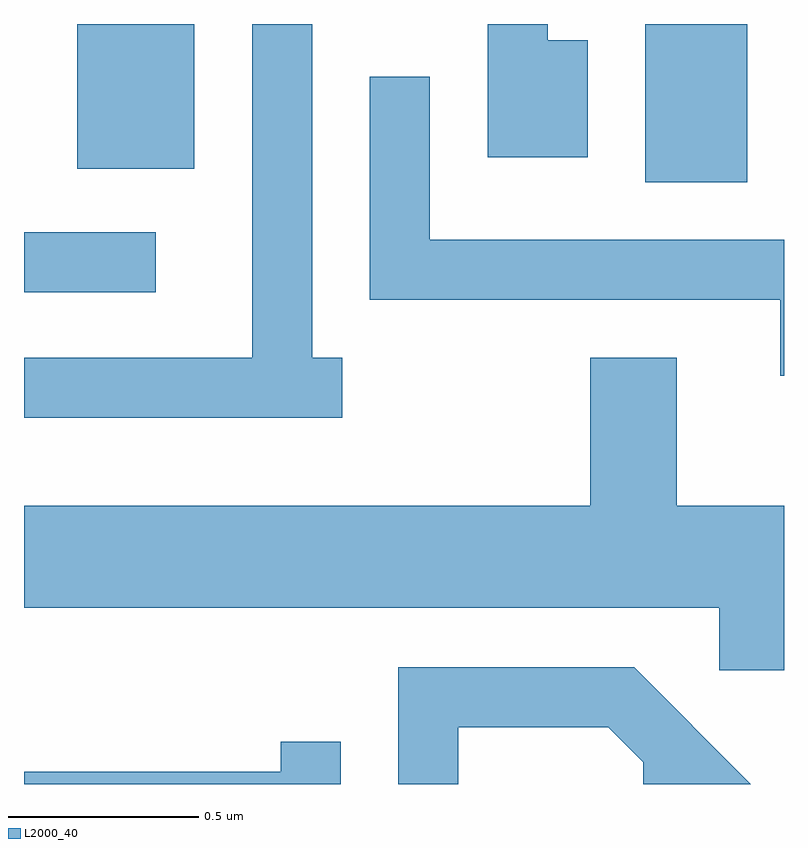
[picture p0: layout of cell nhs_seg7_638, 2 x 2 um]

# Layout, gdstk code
import gdstk
lib = gdstk.Library(unit=1e-6, precision=1e-09)
def R(c, l, rs):  # rectangles x0, y0, x1, y1
    for r in rs: c.add(gdstk.rectangle(r[:2], r[2:], *l))
def P(c, l, *ps):  # polygons
    for p in ps: c.add(gdstk.Polygon(p, *l))
L2000_40 = (2000, 40)

nhs_seg7_638 = lib.new_cell('nhs_seg7_638')
R(nhs_seg7_638, L2000_40, [(189.611,1759.546,189.958,1759.704), (191.246,1759.836,191.514,1760.252), (189.751,1759.871,190.059,1760.252)])
P(nhs_seg7_638, L2000_40, [(190.448,1759.374),(190.369,1759.374),(190.369,1760.252),(190.211,1760.252),(190.211,1759.374),(189.611,1759.374),(189.611,1759.216),(190.448,1759.216)],
  [(191.094,1760.209),(190.989,1760.209),(190.989,1760.252),(190.831,1760.252),(190.831,1759.901),(191.094,1759.901)],
  [(191.611,1759.684),(190.679,1759.684),(190.679,1760.113),(190.521,1760.113),(190.521,1759.526),(191.601,1759.526),(191.601,1759.326),(191.611,1759.326)],
  [(191.611,1758.984),(191.329,1758.984),(191.329,1759.374),(191.101,1759.374),(191.101,1758.984),(189.611,1758.984),(189.611,1758.716),(191.441,1758.716),(191.441,1758.551),(191.611,1758.551)],
  [(190.754,1758.401),(191.149,1758.401),(191.241,1758.309),(191.241,1758.252),(191.524,1758.252),(191.217,1758.559),(190.596,1758.559),(190.596,1758.252),(190.754,1758.252)],
  [(190.444,1758.363),(190.286,1758.363),(190.286,1758.284),(189.611,1758.284),(189.611,1758.252),(190.444,1758.252)])

lib.write_gds('nhs_seg7_638.gds')
